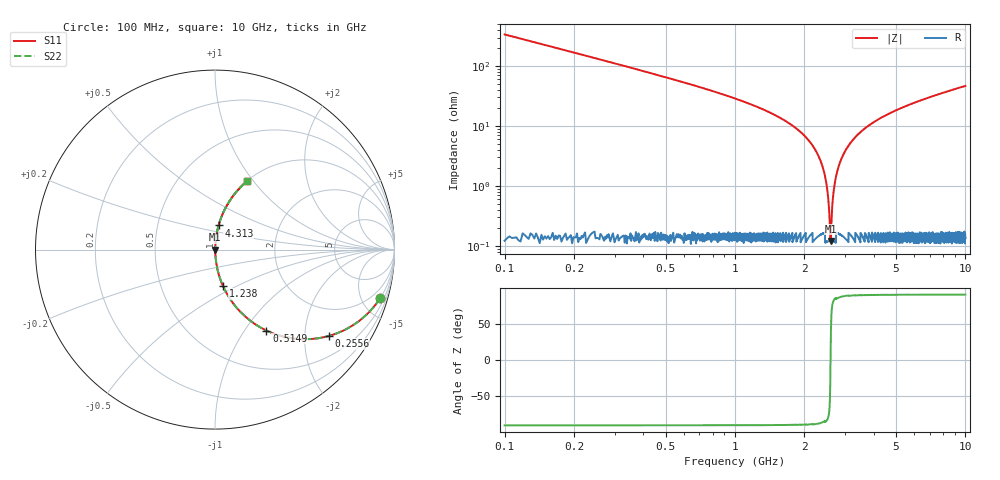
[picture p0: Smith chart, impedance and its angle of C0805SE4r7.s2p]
! AVX Thin Film Operation		Date: April 2012
! Description: Accu-P® Series, Thin Film, SMD, RF Capacitor
! Part Number: 08051J4R7ABTTR
!	100	MHz	-	10.05	GHz
!	Serial	Measurements
#	MHZ	S	MA	R	50
!	S11	S21	S12	S22
!	dB	Phase	dB	Phase	dB	Phase	dB	Phase
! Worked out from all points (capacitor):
!   4010 points, 100 MHz to 10 GHz, reference 50 ohm
!   read as one part in series: C = 4.7 pF near 149.4 MHz
!   lowest |Z| = 120 mohm at 2.599 GHz (marker M1)
!   series resonance near 2.598 GHz, so ESL is about 800 pH
!   S11 on the Smith chart (normalised r, x): 100 MHz: 1.00, -6.76; 255.6 MHz: 1.00, -2.62; 514.9 MHz: 1.00, -1.26; 1.238 GHz: 1.00, -0.42; 4.313 GHz: 1.00, +0.27; 10 GHz: 1.00, +0.94
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100  0.959 -16.5  0.284 73.5  0.284 73.5  0.959 -16.5
255.575  0.795 -37.3  0.606 52.6  0.606 52.6  0.795 -37.3
514.867  0.534 -57.6  0.845 32.3  0.845 32.3  0.534 -57.6
803.791  0.356 -69.0  0.933 20.8  0.933 20.8  0.356 -69.0
1238.414  0.206 -77.7  0.977 11.9  0.977 11.9  0.206 -77.7
1752.058  0.105 -83.2  0.993 6.0  0.993 6.0  0.105 -83.2
2115.066  0.054 -85.4  0.997 3.1  0.997 3.1  0.054 -85.4
2352.133  0.026 -85.4  0.998 1.5  0.998 1.5  0.026 -85.4
2478.074  0.012 -82.8  0.999 0.7  0.999 0.7  0.012 -82.8
2520.055  0.0081 -79.6  0.999 0.5  0.999 0.5  0.0081 -79.6
2566.974  0.00347 -66.0  0.999 0.2  0.999 0.2  0.00347 -66.0
2599.077  0.0014 2.5  0.999 -0.0  0.999 -0.0  0.0014 2.5
2628.71  0.00332 64.9  0.999 -0.2  0.999 -0.2  0.00332 64.9
2712.671  0.011 82.2  0.999 -0.6  0.999 -0.6  0.011 82.2
2838.613  0.023 85.2  0.998 -1.3  0.998 -1.3  0.023 85.2
3060.863  0.043 85.7  0.998 -2.5  0.998 -2.5  0.043 85.7
3401.646  0.071 84.8  0.996 -4.1  0.996 -4.1  0.071 84.8
4312.871  0.136 81.6  0.989 -7.8  0.989 -7.8  0.136 81.6
5051.235  0.183 79.0  0.982 -10.5  0.982 -10.5  0.183 79.0
6700.823  0.274 73.8  0.96 -15.9  0.96 -15.9  0.274 73.8
8350.412  0.353 69.1  0.934 -20.7  0.934 -20.7  0.353 69.1
10000  0.423 64.8  0.905 -25.0  0.905 -25.0  0.423 64.8
